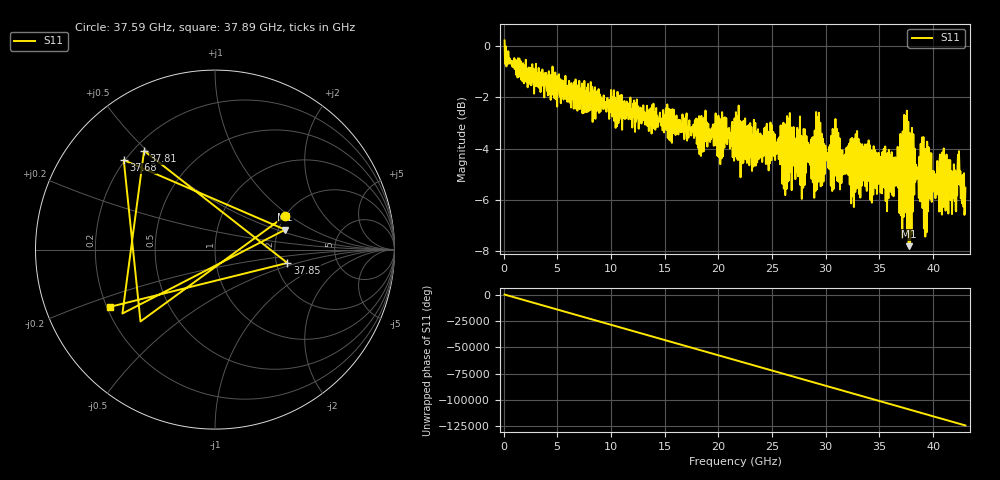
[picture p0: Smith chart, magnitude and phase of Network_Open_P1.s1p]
# Hz S RI R 50.000000
! Metas.Vna.Tools, 2.9.9438.25149
! Metas.Vna.Data, 2.9.9438.25100
! Created: UTC 2026.07.01 05:48:16
! FREQ  re:S1,1  im:S1,1
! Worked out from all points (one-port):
!   1001 points, 100 MHz to 43 GHz, reference 50 ohm
!   lowest |S11| = -7.8 dB at 37.72 GHz (marker M1), VSWR 2.37, Z = 109 + j28.9 ohm
!   |S11| at or under -10 dB: nowhere
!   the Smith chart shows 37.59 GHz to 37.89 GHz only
!   S11 on the Smith chart (normalised r, x): 37.59 GHz: 2.00, +0.91; 37.68 GHz: 0.20, +0.40; 37.81 GHz: 0.24, +0.49; 37.85 GHz: 2.30, -0.41; 37.89 GHz: 0.21, -0.24
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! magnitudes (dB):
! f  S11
! 100 MHz  0.2
! 357.4 MHz  -0.4
! 1.473 GHz  -0.5
! 5.463 GHz  -1.9
! 10.82 GHz  -2.7
! 16.19 GHz  -3.0
! 21.55 GHz  -3.2
! 26.91 GHz  -3.9
! 31.07 GHz  -5.3
! 31.55 GHz  -4.1
! 32.27 GHz  -4.4
! 35.79 GHz  -4.7
! 37.59 GHz  -7.3
! 37.64 GHz  -4.8
! 37.68 GHz  -3.0
! 37.72 GHz  -7.8
! 37.81 GHz  -3.4
! 37.85 GHz  -7.7
! 37.89 GHz  -3.5
! 38.11 GHz  -6.5
! 39.35 GHz  -4.5
! 39.65 GHz  -5.7
! 40.34 GHz  -5.5
! 41.41 GHz  -6.5
! 41.97 GHz  -5.5
! 42.4 GHz  -4.1
! 42.79 GHz  -5.6
! 43 GHz  -5.5
